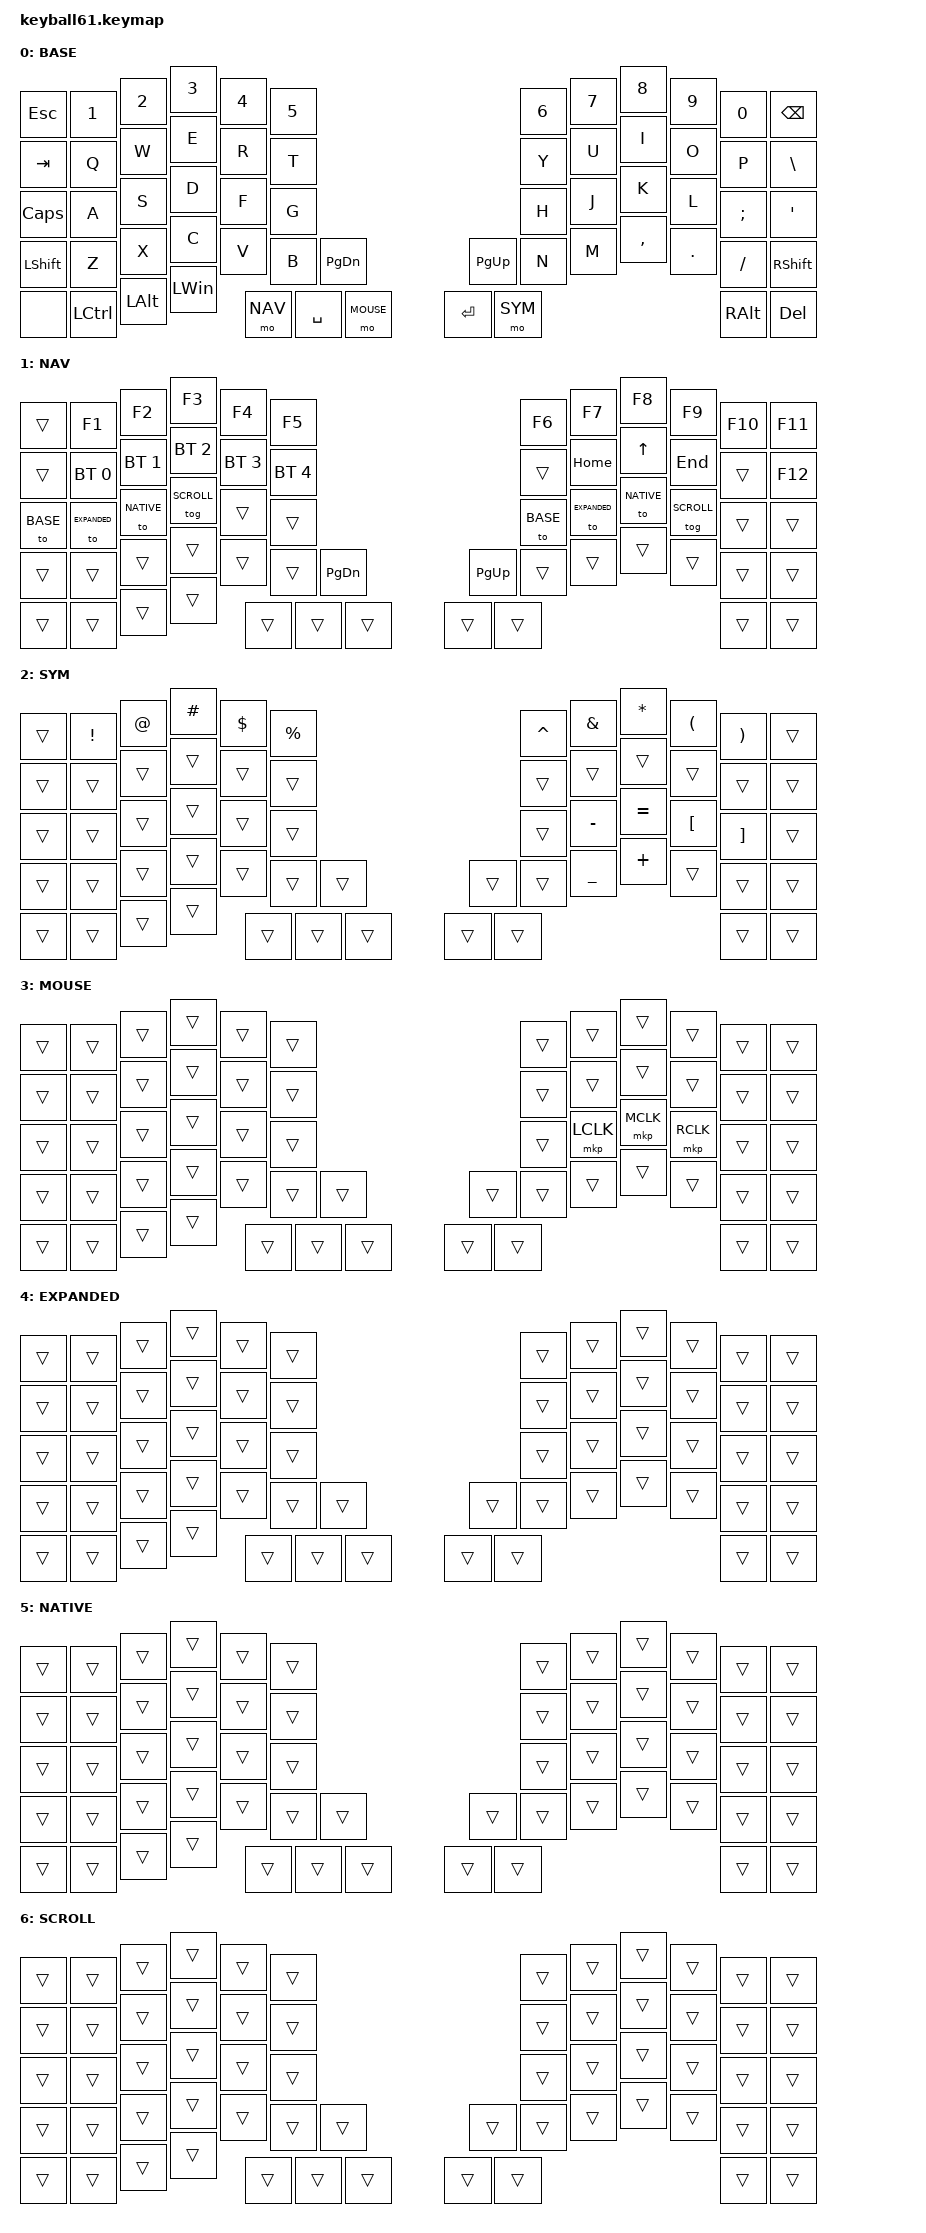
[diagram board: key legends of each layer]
/*
 * Keyball61 Cirque40 first-article keymap.
 * SPDX-License-Identifier: MIT
 *
 * Pointer modes use the same layer numbers as the Keyball44 universal builds.
 */

#define BASE   0
#define NAV    1
#define SYM    2
#define MOUSE  3
#define EXPANDED 4
#define NATIVE   5
#define SCROLL   6

#include <behaviors.dtsi>
#include <dt-bindings/zmk/keys.h>
#include <dt-bindings/zmk/bt.h>
#include <dt-bindings/zmk/mouse.h>

/ {
#if defined(CONFIG_KEYBALL_PEER_LAYER_SYNC)
    peer_enroll: peer_enroll {
        compatible = "keyball,behavior-peer-enroll";
        #binding-cells = <0>;
    };

    combos {
        compatible = "zmk,combos";

        enroll_left {
            timeout-ms = <50>;
            key-positions = <0 5 12 17>;
            bindings = <&peer_enroll>;
        };

        enroll_right {
            timeout-ms = <50>;
            key-positions = <6 11 18 23>;
            bindings = <&peer_enroll>;
        };
    };
#endif

    keymap {
        compatible = "zmk,keymap";

        base_layer {
            label = "BASE";
            bindings = <
                &kp ESC         &kp N1          &kp N2          &kp N3          &kp N4          &kp N5          &kp N6          &kp N7          &kp N8          &kp N9          &kp N0          &kp BSPC
                &kp TAB         &kp Q           &kp W           &kp E           &kp R           &kp T           &kp Y           &kp U           &kp I           &kp O           &kp P           &kp BACKSLASH
                &kp CAPS        &kp A           &kp S           &kp D           &kp F           &kp G           &kp H           &kp J           &kp K           &kp L           &kp SEMI        &kp SQT
                &kp LEFT_SHIFT  &kp Z           &kp X           &kp C           &kp V           &kp B           &kp PAGE_DOWN   &kp PAGE_UP     &kp N           &kp M           &kp COMMA       &kp DOT         &kp FSLH        &kp RIGHT_SHIFT
                &none           &kp LCTRL       &kp LEFT_ALT    &kp LEFT_WIN    &mo NAV          &kp SPACE       &mo MOUSE        &kp ENTER       &mo SYM          &kp RIGHT_ALT    &kp DELETE
            >;
        };

        nav_layer {
            label = "NAV";
            bindings = <
                &trans          &kp F1          &kp F2          &kp F3          &kp F4          &kp F5          &kp F6          &kp F7          &kp F8          &kp F9          &kp F10         &kp F11
                &trans          &bt BT_SEL 0    &bt BT_SEL 1    &bt BT_SEL 2    &bt BT_SEL 3    &bt BT_SEL 4    &trans          &kp HOME        &kp UP          &kp END         &trans          &kp F12
                &to BASE        &to EXPANDED    &to NATIVE      &tog SCROLL     &trans          &trans          &to BASE        &to EXPANDED    &to NATIVE      &tog SCROLL     &trans          &trans
                &trans          &trans          &trans          &trans          &trans          &trans          &kp PAGE_DOWN   &kp PAGE_UP     &trans          &trans          &trans          &trans          &trans          &trans
                &trans          &trans          &trans          &trans          &trans          &trans          &trans          &trans          &trans          &trans          &trans
            >;
        };

        sym_layer {
            label = "SYM";
            bindings = <
                &trans          &kp EXCLAMATION &kp AT_SIGN     &kp HASH        &kp DOLLAR      &kp PERCENT     &kp CARET       &kp AMPERSAND   &kp ASTERISK    &kp LEFT_PARENTHESIS &kp RIGHT_PARENTHESIS &trans
                &trans          &trans          &trans          &trans          &trans          &trans          &trans          &trans          &trans          &trans          &trans          &trans
                &trans          &trans          &trans          &trans          &trans          &trans          &trans          &kp MINUS       &kp EQUAL       &kp LEFT_BRACKET &kp RIGHT_BRACKET &trans
                &trans          &trans          &trans          &trans          &trans          &trans          &trans          &trans          &trans          &kp UNDERSCORE  &kp PLUS        &trans          &trans          &trans
                &trans          &trans          &trans          &trans          &trans          &trans          &trans          &trans          &trans          &trans          &trans
            >;
        };

        mouse_layer {
            label = "MOUSE";
            bindings = <
                &trans          &trans          &trans          &trans          &trans          &trans          &trans          &trans          &trans          &trans          &trans          &trans
                &trans          &trans          &trans          &trans          &trans          &trans          &trans          &trans          &trans          &trans          &trans          &trans
                &trans          &trans          &trans          &trans          &trans          &trans          &trans          &mkp LCLK       &mkp MCLK       &mkp RCLK       &trans          &trans
                &trans          &trans          &trans          &trans          &trans          &trans          &trans          &trans          &trans          &trans          &trans          &trans          &trans          &trans
                &trans          &trans          &trans          &trans          &trans          &trans          &trans          &trans          &trans          &trans          &trans
            >;
        };

        expanded_layer {
            label = "EXPANDED";
            bindings = <
                &trans &trans &trans &trans &trans &trans &trans &trans &trans &trans &trans &trans
                &trans &trans &trans &trans &trans &trans &trans &trans &trans &trans &trans &trans
                &trans &trans &trans &trans &trans &trans &trans &trans &trans &trans &trans &trans
                &trans &trans &trans &trans &trans &trans &trans &trans &trans &trans &trans &trans &trans &trans
                &trans &trans &trans &trans &trans &trans &trans &trans &trans &trans &trans
            >;
        };

        native_layer {
            label = "NATIVE";
            bindings = <
                &trans &trans &trans &trans &trans &trans &trans &trans &trans &trans &trans &trans
                &trans &trans &trans &trans &trans &trans &trans &trans &trans &trans &trans &trans
                &trans &trans &trans &trans &trans &trans &trans &trans &trans &trans &trans &trans
                &trans &trans &trans &trans &trans &trans &trans &trans &trans &trans &trans &trans &trans &trans
                &trans &trans &trans &trans &trans &trans &trans &trans &trans &trans &trans
            >;
        };

        scroll_layer {
            label = "SCROLL";
            bindings = <
                &trans &trans &trans &trans &trans &trans &trans &trans &trans &trans &trans &trans
                &trans &trans &trans &trans &trans &trans &trans &trans &trans &trans &trans &trans
                &trans &trans &trans &trans &trans &trans &trans &trans &trans &trans &trans &trans
                &trans &trans &trans &trans &trans &trans &trans &trans &trans &trans &trans &trans &trans &trans
                &trans &trans &trans &trans &trans &trans &trans &trans &trans &trans &trans
            >;
        };
    };
};
